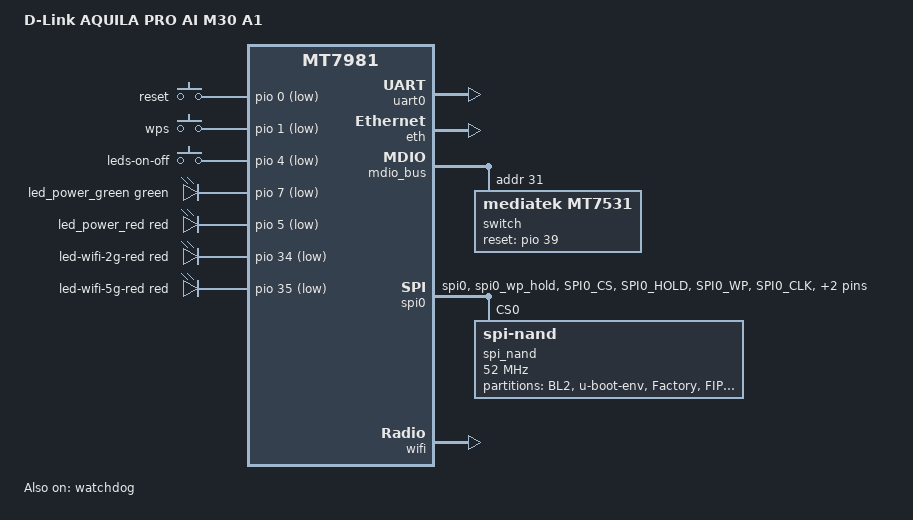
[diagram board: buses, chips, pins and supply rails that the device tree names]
// SPDX-License-Identifier: (GPL-2.0 OR MIT)

/dts-v1/;

#include "mt7981.dtsi"

/ {
	model = "D-Link AQUILA PRO AI M30 A1";
	compatible = "dlink,aquila-pro-ai-m30-a1", "mediatek,mt7981";

	aliases {
		ethernet0 = &gmac0;
		label-mac-device = &lan1;
		led-boot = &led_power_green;
		led-failsafe = &led_power_red;
		led-running = &led_power_green;
		led-upgrade = &led_power_red;
		serial0 = &uart0;
	};

	chosen {
		stdout-path = "serial0:115200n8";
	};

	gpio-keys {
		compatible = "gpio-keys";

		button-reset {
			label = "reset";
			linux,code = <KEY_RESTART>;
			gpios = <&pio 0 GPIO_ACTIVE_LOW>;
		};

		button-wps {
			label = "wps";
			linux,code = <KEY_WPS_BUTTON>;
			gpios = <&pio 1 GPIO_ACTIVE_LOW>;
		};

		button-leds-on-off {
			label = "leds-on-off";
			linux,code = <KEY_LIGHTS_TOGGLE>;
			gpios = <&pio 4 GPIO_ACTIVE_LOW>;
		};
	};

	leds {
		compatible = "gpio-leds";

		led_power_green: led-power-green {
			color = <LED_COLOR_ID_GREEN>;
			function = LED_FUNCTION_POWER;
			gpios = <&pio 7 GPIO_ACTIVE_LOW>;
		};

		led_power_red: led-power-red {
			color = <LED_COLOR_ID_RED>;
			function = LED_FUNCTION_POWER;
			gpios = <&pio 5 GPIO_ACTIVE_LOW>;
		};

		led-wifi-2g-red {
			color = <LED_COLOR_ID_RED>;
			function = LED_FUNCTION_WLAN;
			gpios = <&pio 34 GPIO_ACTIVE_LOW>;
		};

		led-wifi-5g-red {
			color = <LED_COLOR_ID_RED>;
			function = LED_FUNCTION_WLAN;
			gpios = <&pio 35 GPIO_ACTIVE_LOW>;
		};
	};
};

&uart0 {
	status = "okay";
};

&watchdog {
	status = "okay";
};

&eth {
	pinctrl-names = "default";
	pinctrl-0 = <&mdio_pins>;

	status = "okay";

	gmac0: mac@0 {
		compatible = "mediatek,eth-mac";
		reg = <0>;
		phy-mode = "2500base-x";

//		nvmem-cell-names = "mac-address";
//		nvmem-cells = <&macaddr_bdinfo_de00 0>;

		fixed-link {
			speed = <2500>;
			full-duplex;
			pause;
		};
	};

	gmac1: mac@1 {
		compatible = "mediatek,eth-mac";
		reg = <1>;
		status = "disabled";
	};
};

&mdio_bus {
	switch: switch@1f {
		compatible = "mediatek,mt7531";
		reg = <31>;
		reset-gpios = <&pio 39 GPIO_ACTIVE_HIGH>;
	};

	ports {
		#address-cells = <1>;
		#size-cells = <0>;

		port@0 {
			reg = <0>;
			label = "lan0";

//			nvmem-cell-names = "mac-address";
//			nvmem-cells = <&macaddr_bdinfo_de00 1>;
		};

		lan1: port@1 {
			reg = <1>;
			label = "lan1";

//			nvmem-cell-names = "mac-address";
//			nvmem-cells = <&macaddr_bdinfo_de00 0>;
		};

		port@2 {
			reg = <2>;
			label = "lan2";

//			nvmem-cell-names = "mac-address";
//			nvmem-cells = <&macaddr_bdinfo_de00 0>;
		};

		port@3 {
			reg = <3>;
			label = "lan3";

//			nvmem-cell-names = "mac-address";
//			nvmem-cells = <&macaddr_bdinfo_de00 0>;
		};

		port@6 {
			reg = <6>;
			label = "cpu";
			ethernet = <&gmac0>;
			phy-mode = "2500base-x";

			fixed-link {
				speed = <2500>;
				full-duplex;
				pause;
			};
		};
	};
};

&spi0 {
	pinctrl-names = "default";
	pinctrl-0 = <&spi0_flash_pins>;
	status = "okay";

	spi_nand@0 {
		compatible = "spi-nand";
		#address-cells = <1>;
		#size-cells = <1>;
		reg = <0>;

		spi-max-frequency = <52000000>;
		spi-tx-bus-width = <4>;
		spi-rx-bus-width = <4>;

		mediatek,nmbm;
		mediatek,bmt-max-ratio = <1>;
		mediatek,bmt-max-reserved-blocks = <64>;

		partitions {
			compatible = "fixed-partitions";
			#address-cells = <1>;
			#size-cells = <1>;

			partition@0 {
				label = "BL2";
				reg = <0x00 0x100000>;
				read-only;
			};

			partition@100000 {
				label = "u-boot-env";
				reg = <0x100000 0x80000>;
			};

			factory: partition@180000 {
				label = "Factory";
				reg = <0x180000 0x200000>;
				read-only;

				nvmem-layout {
					compatible = "fixed-layout";
					#address-cells = <1>;
					#size-cells = <1>;

					macaddr_art_0: macaddr@0 {
						reg = <0x0 0x6>;
					};
				};
			};

			partition@380000 {
				label = "FIP";
				reg = <0x380000 0x200000>;
				read-only;
			};

			partition@580000 {
				label = "ubi";
				reg = <0x580000 0x3200000>;
			};

			partition@3780000 {
				label = "ubi1";
				reg = <0x3780000 0x3200000>;
			};

			partition@6980000 {
				label = "Odm";
				reg = <0x6980000 0x40000>;
				read-only;
			};

			partition@69C0000 {
				label = "Config1";
				reg = <0x69C0000 0x80000>;
				read-only;
			};

			partition@6A40000 {
				label = "Config2";
				reg = <0x6A40000 0x80000>;
				read-only;
			};

			partition@6AC0000 {
				label = "Storage";
				reg = <0x6AC0000 0xA00000>;
			};
		};
	};
};

&pio {
	spi0_flash_pins: spi0-pins {
		mux {
			function = "spi";
			groups = "spi0", "spi0_wp_hold";
		};

		conf-pu {
			pins = "SPI0_CS", "SPI0_HOLD", "SPI0_WP";
			drive-strength = <MTK_DRIVE_8mA>;
			bias-pull-down = <MTK_PUPD_SET_R1R0_00>;
		};

		conf-pd {
			pins = "SPI0_CLK", "SPI0_MOSI", "SPI0_MISO";
			drive-strength = <MTK_DRIVE_8mA>;
			bias-pull-down = <MTK_PUPD_SET_R1R0_00>;
		};
	};
};

&wifi {
	status = "okay";
	mediatek,mtd-eeprom = <&factory 0x0>;
};
